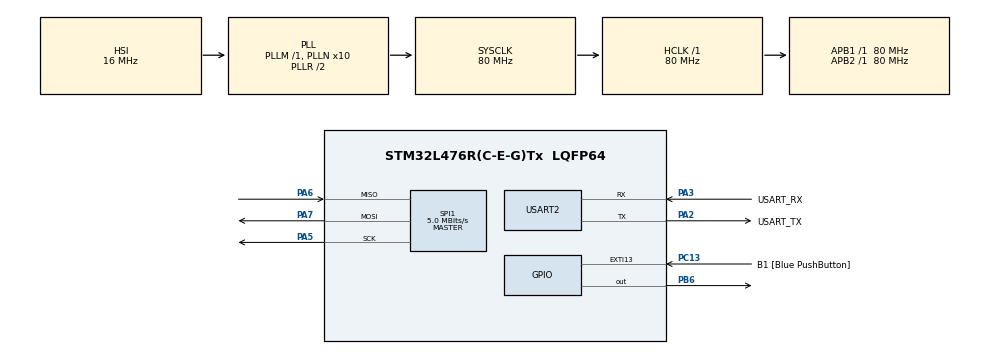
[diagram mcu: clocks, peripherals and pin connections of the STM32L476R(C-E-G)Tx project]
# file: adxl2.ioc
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Mcu.Family=STM32L4
Mcu.Name=STM32L476R(C-E-G)Tx
Mcu.Package=LQFP64
NVIC.PriorityGroup=NVIC_PRIORITYGROUP_4
PA13\ (JTMS-SWDIO).GPIO_Label=TMS
PA13\ (JTMS-SWDIO).Mode=Serial_Wire
PA13\ (JTMS-SWDIO).Signal=SYS_JTMS-SWDIO
PA14\ (JTCK-SWCLK).GPIO_Label=TCK
PA14\ (JTCK-SWCLK).Mode=Serial_Wire
PA14\ (JTCK-SWCLK).Signal=SYS_JTCK-SWCLK
PA2.GPIO_Label=USART_TX
PA2.GPIO_Mode=GPIO_MODE_AF_PP
PA2.GPIO_PuPd=GPIO_NOPULL
PA2.GPIO_Speed=GPIO_SPEED_FREQ_VERY_HIGH
PA2.Mode=Asynchronous
PA2.Signal=USART2_TX
PA3.GPIO_Label=USART_RX
PA3.GPIO_Mode=GPIO_MODE_AF_PP
PA3.GPIO_PuPd=GPIO_NOPULL
PA3.GPIO_Speed=GPIO_SPEED_FREQ_VERY_HIGH
PA3.Mode=Asynchronous
PA3.Signal=USART2_RX
PA5.Mode=Full_Duplex_Master
PA5.Signal=SPI1_SCK
PA6.Mode=Full_Duplex_Master
PA6.Signal=SPI1_MISO
PA7.Mode=Full_Duplex_Master
PA7.Signal=SPI1_MOSI
PB3\ (JTDO-TRACESWO).GPIO_Label=SWO
PB3\ (JTDO-TRACESWO).Signal=SYS_JTDO-SWO
PB6.Signal=GPIO_Output
PC13.GPIO_Label=B1 [Blue PushButton]
PC13.GPIO_ModeDefaultEXTI=GPIO_MODE_IT_FALLING
PC13.GPIO_PuPd=GPIO_NOPULL
PC13.Signal=GPXTI13
PC14-OSC32_IN\ (PC14).Mode=LSE-External-Oscillator
PC14-OSC32_IN\ (PC14).Signal=RCC_OSC32_IN
PC15-OSC32_OUT\ (PC15).Mode=LSE-External-Oscillator
PC15-OSC32_OUT\ (PC15).Signal=RCC_OSC32_OUT
PH0-OSC_IN\ (PH0).Signal=RCC_OSC_IN
PH1-OSC_OUT\ (PH1).Signal=RCC_OSC_OUT
ProjectManager.HeapSize=0x200
ProjectManager.StackSize=0x400
ProjectManager.TargetToolchain=STM32CubeIDE
RCC.ADCFreq_Value=64000000
RCC.AHBFreq_Value=80000000
RCC.APB1Freq_Value=80000000
RCC.APB1TimFreq_Value=80000000
RCC.APB2Freq_Value=80000000
RCC.APB2TimFreq_Value=80000000
RCC.CortexFreq_Value=80000000
RCC.HCLKFreq_Value=80000000
RCC.HSE_VALUE=8000000
RCC.HSI_VALUE=16000000
RCC.MSI_VALUE=4000000
RCC.PLLN=10
RCC.PLLSourceVirtual=RCC_PLLSOURCE_HSI
RCC.PREFETCH_ENABLE=1
RCC.SYSCLKFreq_VALUE=80000000
RCC.SYSCLKSource=RCC_SYSCLKSOURCE_PLLCLK
RCC.USBFreq_Value=64000000
RCC.VCOOutputFreq_Value=160000000
SPI1.BaudRatePrescaler=SPI_BAUDRATEPRESCALER_16
SPI1.CLKPhase=SPI_PHASE_2EDGE
SPI1.CLKPolarity=SPI_POLARITY_HIGH
SPI1.CalculateBaudRate=5.0 MBits/s
SPI1.DataSize=SPI_DATASIZE_8BIT
SPI1.Direction=SPI_DIRECTION_2LINES
SPI1.Mode=SPI_MODE_MASTER
SPI1.VirtualType=VM_MASTER
USART2.VirtualMode-Asynchronous=VM_ASYNC
board=NUCLEO-L476RG

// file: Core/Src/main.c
#include "main.h"

/* USER CODE BEGIN Includes */
#include "string.h"
#include "stdio.h"

SPI_HandleTypeDef hspi1;

UART_HandleTypeDef huart2;

void SystemClock_Config(void);
static void MX_GPIO_Init(void);
static void MX_USART2_UART_Init(void);
static void MX_SPI1_Init(void);

/* USER CODE BEGIN 0 */
/* SPI Write Function */
void adxl_write (uint8_t Reg, uint8_t data)
{
	uint8_t writeBuf[2];
	writeBuf[0] = Reg|0x40;  // multibyte write enabled
	writeBuf[1] = data;
	HAL_GPIO_WritePin (GPIOB, GPIO_PIN_6, GPIO_PIN_RESET); // pull the cs pin low to enable the slave
	HAL_SPI_Transmit (&hspi1, writeBuf, 2, 100);  // transmit the address and data
	HAL_GPIO_WritePin (GPIOB, GPIO_PIN_6, GPIO_PIN_SET); // pull the cs pin high to disable the slave
}
/* SPI Read Function */
void adxl_read (uint8_t Reg, uint8_t *Buffer, size_t len)
{
	Reg |= 0x80;  // read operation
	Reg |= 0x40;  // multibyte read
	HAL_GPIO_WritePin (GPIOB, GPIO_PIN_6, GPIO_PIN_RESET);  // pull the cs pin low to enable the slave
	HAL_SPI_Transmit (&hspi1, &Reg, 1, 100);  // send the address from where you want to read data
	HAL_SPI_Receive (&hspi1, Buffer, len, 100);  // read 6 BYTES of data
	HAL_GPIO_WritePin (GPIOB, GPIO_PIN_6, GPIO_PIN_SET);  // pull the cs pin high to disable the slave
}

/* SPI Initialization Function */
void adxl_init (void)
{
	uint8_t chipID=0;
	adxl_read(0x00, &chipID, 1);
	if (chipID == 0xE5)
		{
			adxl_write (0x2d, 0x00);  // reset all bits; standby
			adxl_write (0x2d, 0x08);  // measure=1 and wake up 8hz
			adxl_write (0x31, 0x01);  // 10bit data, range= +- 4g
		}
}

/* USER CODE END 0 */

int main(void)
{

  /* MCU Configuration--------------------------------------------------------*/

  /* Reset of all peripherals, Initializes the Flash interface and the Systick. */
  HAL_Init();

  /* Configure the system clock */
  SystemClock_Config();

  /* Initialize all configured peripherals */
  MX_GPIO_Init();
  MX_USART2_UART_Init();
  MX_SPI1_Init();
  /* USER CODE BEGIN 2 */
  adxl_init();
  /* USER CODE END 2 */

  /* Infinite loop */
  while (1)
  {
	  uint8_t RxData[6];
	  adxl_read (0x32, RxData, 6);
	  int16_t x = ((RxData[1]<<8)|RxData[0]);
	  int16_t y = ((RxData[3]<<8)|RxData[2]);
	  int16_t z = ((RxData[5]<<8)|RxData[4]);

	  float xg = (float)x/128;
	  float yg = (float)y/128;
	  float zg = (float)z/128;
	  char buf[50];

	  sprintf(buf, "X: %+5.2f  Y: %+5.2f  Z: %+5.2f", xg, yg, zg);
	          HAL_UART_Transmit(&huart2, (uint8_t*)buf, strlen(buf), HAL_MAX_DELAY);
	          HAL_UART_Transmit(&huart2, (uint8_t*)"\r\n", 2, HAL_MAX_DELAY);
	  HAL_Delay(1000);

  }
}

void SystemClock_Config(void)
{
  RCC_OscInitTypeDef RCC_OscInitStruct = {0};
  RCC_ClkInitTypeDef RCC_ClkInitStruct = {0};

  /** Configure the main internal regulator output voltage
  */
  if (HAL_PWREx_ControlVoltageScaling(PWR_REGULATOR_VOLTAGE_SCALE1) != HAL_OK)
  {
    Error_Handler();
  }

  /** Initializes the RCC Oscillators according to the specified parameters
  * in the RCC_OscInitTypeDef structure.
  */
  RCC_OscInitStruct.OscillatorType = RCC_OSCILLATORTYPE_HSI;
  RCC_OscInitStruct.HSIState = RCC_HSI_ON;
  RCC_OscInitStruct.HSICalibrationValue = RCC_HSICALIBRATION_DEFAULT;
  RCC_OscInitStruct.PLL.PLLState = RCC_PLL_ON;
  RCC_OscInitStruct.PLL.PLLSource = RCC_PLLSOURCE_HSI;
  RCC_OscInitStruct.PLL.PLLM = 1;
  RCC_OscInitStruct.PLL.PLLN = 10;
  RCC_OscInitStruct.PLL.PLLP = RCC_PLLP_DIV7;
  RCC_OscInitStruct.PLL.PLLQ = RCC_PLLQ_DIV2;
  RCC_OscInitStruct.PLL.PLLR = RCC_PLLR_DIV2;
  if (HAL_RCC_OscConfig(&RCC_OscInitStruct) != HAL_OK)
  {
    Error_Handler();
  }

  /** Initializes the CPU, AHB and APB buses clocks
  */
  RCC_ClkInitStruct.ClockType = RCC_CLOCKTYPE_HCLK|RCC_CLOCKTYPE_SYSCLK
                              |RCC_CLOCKTYPE_PCLK1|RCC_CLOCKTYPE_PCLK2;
  RCC_ClkInitStruct.SYSCLKSource = RCC_SYSCLKSOURCE_PLLCLK;
  RCC_ClkInitStruct.AHBCLKDivider = RCC_SYSCLK_DIV1;
  RCC_ClkInitStruct.APB1CLKDivider = RCC_HCLK_DIV1;
  RCC_ClkInitStruct.APB2CLKDivider = RCC_HCLK_DIV1;

  if (HAL_RCC_ClockConfig(&RCC_ClkInitStruct, FLASH_LATENCY_4) != HAL_OK)
  {
    Error_Handler();
  }
}

static void MX_SPI1_Init(void)
{

  /* SPI1 parameter configuration*/
  hspi1.Instance = SPI1;
  hspi1.Init.Mode = SPI_MODE_MASTER;
  hspi1.Init.Direction = SPI_DIRECTION_2LINES;
  hspi1.Init.DataSize = SPI_DATASIZE_8BIT;
  hspi1.Init.CLKPolarity = SPI_POLARITY_HIGH;
  hspi1.Init.CLKPhase = SPI_PHASE_2EDGE;
  hspi1.Init.NSS = SPI_NSS_SOFT;
  hspi1.Init.BaudRatePrescaler = SPI_BAUDRATEPRESCALER_16;
  hspi1.Init.FirstBit = SPI_FIRSTBIT_MSB;
  hspi1.Init.TIMode = SPI_TIMODE_DISABLE;
  hspi1.Init.CRCCalculation = SPI_CRCCALCULATION_DISABLE;
  hspi1.Init.CRCPolynomial = 7;
  hspi1.Init.CRCLength = SPI_CRC_LENGTH_DATASIZE;
  hspi1.Init.NSSPMode = SPI_NSS_PULSE_DISABLE;
  if (HAL_SPI_Init(&hspi1) != HAL_OK)
  {
    Error_Handler();
  }

}

static void MX_USART2_UART_Init(void)
{

  huart2.Instance = USART2;
  huart2.Init.BaudRate = 115200;
  huart2.Init.WordLength = UART_WORDLENGTH_8B;
  huart2.Init.StopBits = UART_STOPBITS_1;
  huart2.Init.Parity = UART_PARITY_NONE;
  huart2.Init.Mode = UART_MODE_TX_RX;
  huart2.Init.HwFlowCtl = UART_HWCONTROL_NONE;
  huart2.Init.OverSampling = UART_OVERSAMPLING_16;
  huart2.Init.OneBitSampling = UART_ONE_BIT_SAMPLE_DISABLE;
  huart2.AdvancedInit.AdvFeatureInit = UART_ADVFEATURE_NO_INIT;
  if (HAL_UART_Init(&huart2) != HAL_OK)
  {
    Error_Handler();
  }

}

static void MX_GPIO_Init(void)
{
  GPIO_InitTypeDef GPIO_InitStruct = {0};

  /* GPIO Ports Clock Enable */
  __HAL_RCC_GPIOC_CLK_ENABLE();
  __HAL_RCC_GPIOH_CLK_ENABLE();
  __HAL_RCC_GPIOA_CLK_ENABLE();
  __HAL_RCC_GPIOB_CLK_ENABLE();

  /*Configure GPIO pin Output Level */
  HAL_GPIO_WritePin(GPIOB, GPIO_PIN_6, GPIO_PIN_RESET);

  /*Configure GPIO pin : B1_Pin */
  GPIO_InitStruct.Pin = B1_Pin;
  GPIO_InitStruct.Mode = GPIO_MODE_IT_FALLING;
  GPIO_InitStruct.Pull = GPIO_NOPULL;
  HAL_GPIO_Init(B1_GPIO_Port, &GPIO_InitStruct);

  /*Configure GPIO pin : PB6 */
  GPIO_InitStruct.Pin = GPIO_PIN_6;
  GPIO_InitStruct.Mode = GPIO_MODE_OUTPUT_PP;
  GPIO_InitStruct.Pull = GPIO_NOPULL;
  GPIO_InitStruct.Speed = GPIO_SPEED_FREQ_LOW;
  HAL_GPIO_Init(GPIOB, &GPIO_InitStruct);

}

void Error_Handler(void)
{
  __disable_irq();
  while (1)
  {
  }
}
